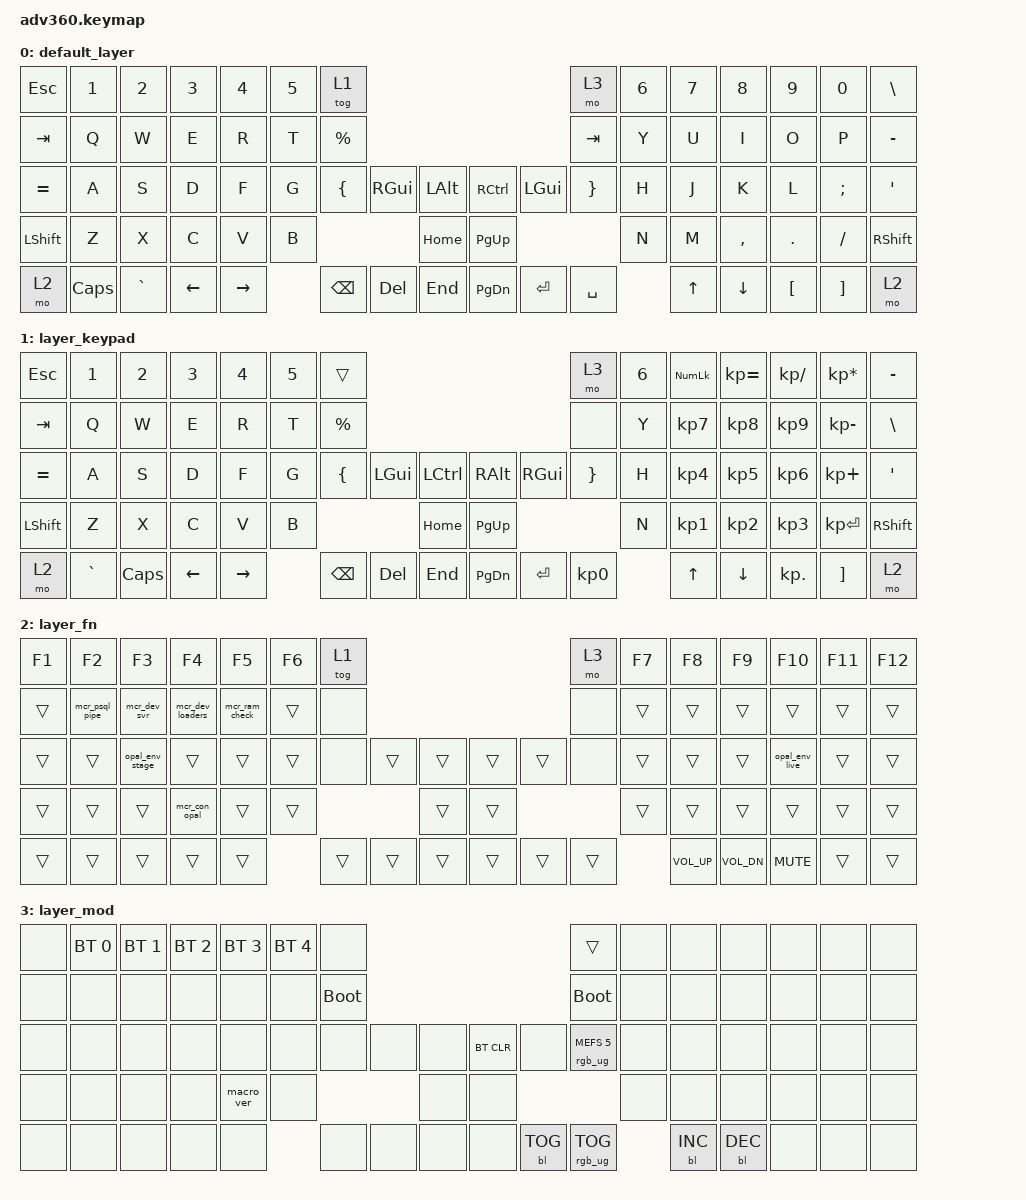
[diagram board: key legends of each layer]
/*
 * Copyright (c) 2020 The ZMK Contributors
 *
 * SPDX-License-Identifier: MIT
 */
/* THIS FILE WAS GENERATED!
 *
 * This file was generated automatically. You may or may not want to
 * edit it directly.
 */

#include <behaviors.dtsi>
#include <dt-bindings/zmk/backlight.h>
#include <dt-bindings/zmk/bt.h>
#include <dt-bindings/zmk/keys.h>
#include <dt-bindings/zmk/rgb.h>

/ {
    behaviors {
        #include "macros.dtsi"
    #include "version.dtsi"

        hm: homerow_mods {
            compatible = "zmk,behavior-hold-tap";
            label = "HOMEROW_MODS";
            #binding-cells = <2>;
            tapping-term-ms = <200>;
            quick_tap_ms = <175>;
            flavor = "tap-preferred";
            bindings = <&kp>, <&kp>;
        };
    };

    macros {
        mcr_con_opal: mcr_con_opal {
            compatible = "zmk,behavior-macro";
            #binding-cells = <0>;
            bindings = <&kp LG(LC(LA(C)))>;
            label = "MCR_CON_OPAL";
        };

        mcr_psql_pipe: mcr_psql_pipe {
            compatible = "zmk,behavior-macro";
            #binding-cells = <0>;
            bindings = <&kp LA(LC(LG(Q)))>;
            label = "MCR_PSQL_PIPE";
        };

        mcr_dev_svr: mcr_dev_svr {
            compatible = "zmk,behavior-macro";
            #binding-cells = <0>;
            bindings = <&kp LA(LC(LG(W)))>;
            label = "MCR_DEV_SVR";
        };

        mcr_dev_loaders: mcr_dev_loaders {
            compatible = "zmk,behavior-macro";
            #binding-cells = <0>;
            bindings = <&kp LA(LG(LC(E)))>;
            label = "MCR_DEV_LOADERS";
        };

        mcr_ram_check: mcr_ram_check {
            compatible = "zmk,behavior-macro";
            #binding-cells = <0>;
            bindings = <&kp LA(LC(LG(R)))>;
            label = "MCR_RAM_CHECK";
        };

        opal_env_live: opal_env_live {
            compatible = "zmk,behavior-macro";
            #binding-cells = <0>;
            bindings = <&kp LG(LC(LA(L)))>;
            label = "OPAL_ENV_LIVE";
        };

        opal_env_stage: opal_env_stage {
            compatible = "zmk,behavior-macro";
            #binding-cells = <0>;
            bindings = <&kp LA(LC(LG(S)))>;
            label = "OPAL_ENV_STAGE";
        };
    };

    keymap {
        compatible = "zmk,keymap";

        default_layer {
            bindings = <
&kp ESC    &kp N1    &kp N2     &kp N3    &kp N4     &kp N5  &tog 1                                                        &mo 3            &kp N6  &kp N7  &kp N8     &kp N9    &kp N0    &kp BSLH
&kp TAB    &kp Q     &kp W      &kp E     &kp R      &kp T   &kp PERCENT                                                   &kp TAB          &kp Y   &kp U   &kp I      &kp O     &kp P     &kp MINUS
&kp EQUAL  &kp A     &kp S      &kp D     &kp F      &kp G   &kp LEFT_BRACE  &kp RGUI  &kp LALT      &kp RCTRL  &kp LGUI   &kp RIGHT_BRACE  &kp H   &kp J   &kp K      &kp L     &kp SEMI  &kp SQT
&kp LSHFT  &kp Z     &kp X      &kp C     &kp V      &kp B                             &kp HOME      &kp PG_UP                              &kp N   &kp M   &kp COMMA  &kp DOT   &kp FSLH  &kp RSHFT
&mo 2      &kp CAPS  &kp GRAVE  &kp LEFT  &kp RIGHT          &kp BSPC        &kp DEL   &kp END       &kp PG_DN  &kp ENTER  &kp SPACE                &kp UP  &kp DOWN   &kp LBKT  &kp RBKT  &mo 2
            >;
        };

        layer_keypad {
            bindings = <
&kp ESC    &kp N1     &kp N2    &kp N3    &kp N4     &kp N5  &trans                                                         &mo 3            &kp N6  &kp KP_NUM  &kp KP_EQUAL  &kp KP_DIVIDE  &kp KP_MULTIPLY  &kp MINUS
&kp TAB    &kp Q      &kp W     &kp E     &kp R      &kp T   &kp PERCENT                                                    &none            &kp Y   &kp KP_N7   &kp KP_N8     &kp KP_N9      &kp KP_MINUS     &kp BSLH
&kp EQUAL  &kp A      &kp S     &kp D     &kp F      &kp G   &kp LEFT_BRACE  &kp LGUI  &kp LCTRL      &kp RALT   &kp RGUI   &kp RIGHT_BRACE  &kp H   &kp KP_N4   &kp KP_N5     &kp KP_N6      &kp KP_PLUS      &kp SQT
&kp LSHFT  &kp Z      &kp X     &kp C     &kp V      &kp B                             &kp HOME       &kp PG_UP                              &kp N   &kp KP_N1   &kp KP_N2     &kp KP_N3      &kp KP_ENTER     &kp RSHFT
&mo 2      &kp GRAVE  &kp CAPS  &kp LEFT  &kp RIGHT          &kp BSPC        &kp DEL   &kp END        &kp PG_DN  &kp ENTER  &kp KP_N0                &kp UP      &kp DOWN      &kp KP_DOT     &kp RBKT         &mo 2
            >;
        };

        layer_fn {
            bindings = <
&kp F1  &kp F2          &kp F3           &kp F4            &kp F5          &kp F6  &tog 1                                      &mo 3   &kp F7  &kp F8        &kp F9        &kp F10         &kp F11  &kp F12
&trans  &mcr_psql_pipe  &mcr_dev_svr     &mcr_dev_loaders  &mcr_ram_check  &trans  &none                                       &none   &trans  &trans        &trans        &trans          &trans   &trans
&trans  &trans          &opal_env_stage  &trans            &trans          &trans  &none   &trans  &trans      &trans  &trans  &none   &trans  &trans        &trans        &opal_env_live  &trans   &trans
&trans  &trans          &trans           &mcr_con_opal     &trans          &trans                  &trans      &trans                  &trans  &trans        &trans        &trans          &trans   &trans
&trans  &trans          &trans           &trans            &trans                  &trans  &trans  &trans      &trans  &trans  &trans          &kp C_VOL_UP  &kp C_VOL_DN  &kp C_MUTE      &trans   &trans
            >;
        };

        layer_mod {
            bindings = <
&none  &bt BT_SEL 0  &bt BT_SEL 1  &bt BT_SEL 2  &bt BT_SEL 3  &bt BT_SEL 4  &none                                                  &trans                  &none  &none       &none       &none  &none  &none
&none  &none         &none         &none         &none         &none         &bootloader                                            &bootloader             &none  &none       &none       &none  &none  &none
&none  &none         &none         &none         &none         &none         &none        &none  &none      &bt BT_CLR  &none       &rgb_ug RGB_MEFS_CMD 5  &none  &none       &none       &none  &none  &none
&none  &none         &none         &none         &macro_ver    &none                             &none      &none                                           &none  &none       &none       &none  &none  &none
&none  &none         &none         &none         &none                       &none        &none  &none      &none       &bl BL_TOG  &rgb_ug RGB_TOG                &bl BL_INC  &bl BL_DEC  &none  &none  &none
            >;
        };
    };
};
